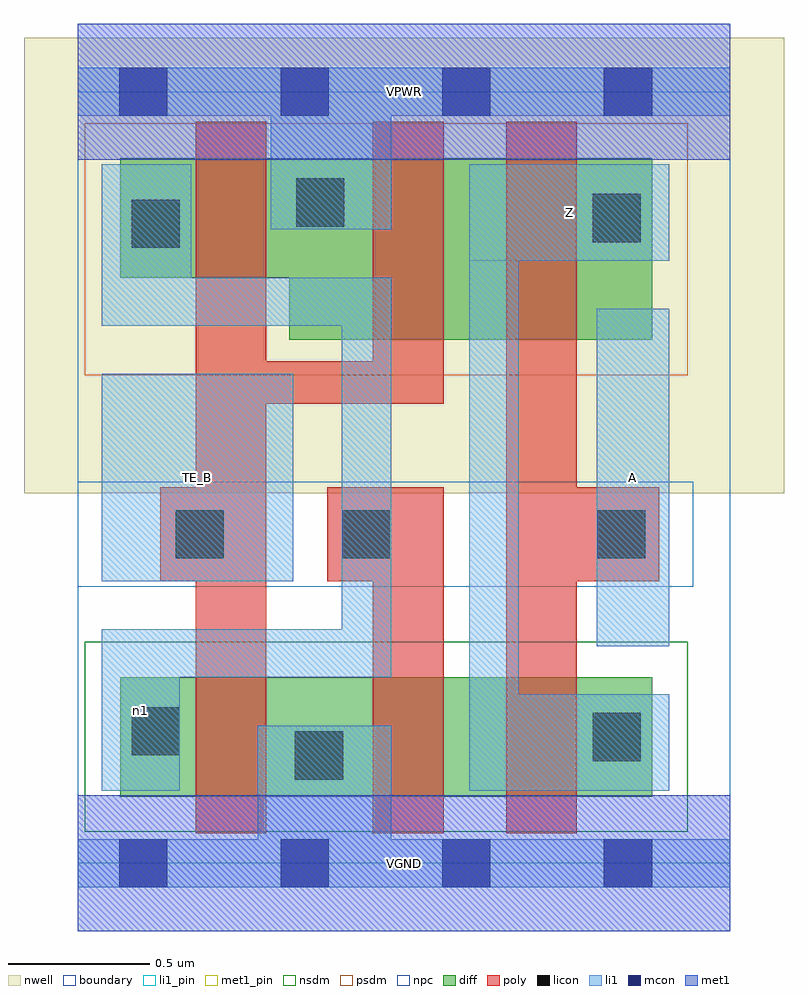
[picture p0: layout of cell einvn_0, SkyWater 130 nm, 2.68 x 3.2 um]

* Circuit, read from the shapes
.subckt einvn_0 A TE_B VGND VPWR Z n1
XM1 VGND TE_B n1 VSUBS sky130_fd_pr__nfet_01v8 w=0.42 l=0.25
XM2 n2 n1 VGND VSUBS sky130_fd_pr__nfet_01v8 w=0.42 l=0.25
XM3 Z A n2 VSUBS sky130_fd_pr__nfet_01v8 w=0.42 l=0.25
XM4 VPWR TE_B n1 n3 sky130_fd_pr__pfet_01v8 w=0.42 l=0.25
XM5 n4 TE_B VPWR n3 sky130_fd_pr__pfet_01v8 w=0.64 l=0.25
XM6 Z A n4 n3 sky130_fd_pr__pfet_01v8 w=0.64 l=0.25
.ends

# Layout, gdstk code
import gdstk
lib = gdstk.Library(unit=1e-6, precision=1e-09)
def R(c, l, rs):  # rectangles x0, y0, x1, y1
    for r in rs: c.add(gdstk.rectangle(r[:2], r[2:], *l))
def A(c, l, x, y, w, h, nx, ny, dx, dy):  # array of equal rectangles
    R(c, l, [(x+i*dx, y+j*dy, x+i*dx+w, y+j*dy+h) for i in range(nx) for j in range(ny)])
nwell = (64, 20)
diff = (65, 20)
poly = (66, 20)
licon = (66, 44)
li1_pin = (67, 16)
li1 = (67, 20)
mcon = (67, 44)
met1_pin = (68, 16)
met1 = (68, 20)
nsdm = (93, 44)
psdm = (94, 20)
npc = (95, 20)
boundary = (235, 4)

einvn_0 = lib.new_cell('einvn_0')
R(einvn_0, nwell, [(-0.19,1.305,2.49,2.91), (0,1.305,2.3,2.91)])
R(einvn_0, diff, [(0.15,0.235,2.025,0.655), (0.745,1.845,2.025,2.485), (0.15,2.065,2.025,2.485)])
R(einvn_0, poly, [(0.415,0.105,0.665,2.615), (1.04,0.105,1.29,1.325), (1.51,0.105,1.76,2.615), (0.29,0.995,0.665,1.325), (0.88,0.995,1.29,1.325), (1.51,0.995,2.05,1.325), (0.415,1.62,1.29,1.77), (1.04,1.62,1.29,2.615)])
R(einvn_0, licon, [(0.765,0.295,0.935,0.465), (1.815,0.36,1.985,0.53), (0.19,0.38,0.36,0.55), (0.345,1.075,0.515,1.245), (0.93,1.075,1.1,1.245), (1.83,1.075,2,1.245), (0.19,2.17,0.36,2.34), (1.815,2.19,1.985,2.36), (0.77,2.245,0.94,2.415)])
R(einvn_0, li1_pin, [(1.83,0.765,2.085,1.955), (0.085,0.995,0.76,1.725), (1.38,2.125,2.085,2.465)])
R(einvn_0, li1, [(0,-0.085,2.3,0.085), (0.635,-0.085,1.105,0.485), (0.085,0.255,0.36,0.825), (1.38,0.255,1.555,2.465), (1.38,0.255,2.085,0.595), (0.085,0.655,1.105,0.825), (0.93,0.655,1.105,2.065), (1.83,0.765,2.085,1.955), (0.085,0.995,0.76,1.725), (0.085,1.895,1.105,2.065), (0.085,1.895,0.4,2.465), (1.38,2.125,2.085,2.465), (0.68,2.235,1.105,2.805), (0,2.635,2.3,2.805)])
A(einvn_0, mcon, 0.145, -0.085, 0.17, 0.17, 4, 2, 0.57, 2.72)
R(einvn_0, met1_pin, [(0,-0.24,2.3,0.24), (0,2.48,2.3,2.96)])
R(einvn_0, met1, [(0,-0.24,2.3,0.24), (0,2.48,2.3,2.96)])
R(einvn_0, nsdm, [(0.025,0.11,2.15,0.78)])
R(einvn_0, psdm, [(0.025,1.72,2.15,2.61)])
R(einvn_0, npc, [(0,0.975,2.17,1.345)])
R(einvn_0, boundary, [(0,0,2.3,2.72)])
einvn_0.add(gdstk.Label('A', (1.957,1.36), layer=67, texttype=5))
einvn_0.add(gdstk.Label('TE_B', (0.422,1.36), layer=67, texttype=5))
einvn_0.add(gdstk.Label('Z', (1.732,2.295), layer=67, texttype=5))
einvn_0.add(gdstk.Label('n1', (0.222,0.54), layer=67, texttype=5))
einvn_0.add(gdstk.Label('VPWR', (1.15,2.72), layer=68, texttype=5))
einvn_0.add(gdstk.Label('VGND', (1.15,0), layer=68, texttype=5))
einvn_0.add(gdstk.Label('A', (1.957,1.36), layer=67, texttype=16))
einvn_0.add(gdstk.Label('TE_B', (0.422,1.36), layer=67, texttype=16))
einvn_0.add(gdstk.Label('Z', (1.732,2.295), layer=67, texttype=16))
einvn_0.add(gdstk.Label('VPWR', (1.15,2.72), layer=68, texttype=16))
einvn_0.add(gdstk.Label('VGND', (1.15,0), layer=68, texttype=16))

lib.write_gds('einvn_0.gds')
